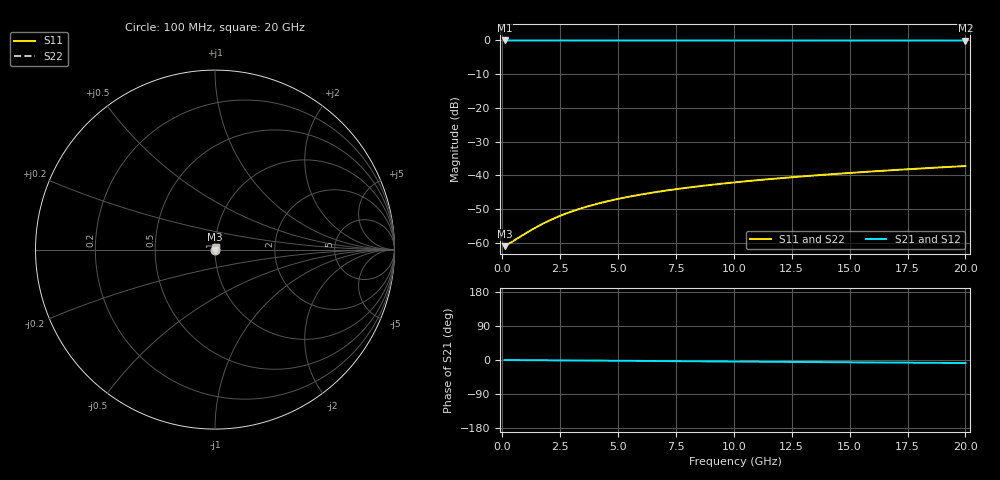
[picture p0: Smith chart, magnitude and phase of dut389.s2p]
! Touchstone file exported from HFSS 2026.1.0
!  File:  C:/ffzhzh/LocalFiles/Ansys_Project_Files/temp_train_TSV_389_1783019977_55676.aedt
!  Generated:  03:21:59 AM Jul  3, 2026
!  Design:  TSV
!  Project:  temp_train_TSV_389_1783019977_55676
! Variables:
!  h_bsmrdl = 2um
!  h_ox = 20um
!  h_rdl = 5um
!  h_sub = 87.54um
!  h_tmrdl = 5um
!  h_tsv = 87.54um
!  h_via = 3um
!  l_bsmrdl = 300um
!  l_sub = 406.84um
!  l_tmrdl = 200um
!  m_sub = 200um
!  pitch = 15.97um
!  r_tsv = 3.42um
!  s_tmrdl = 10um
!  w_bsmrdl = 18um
!  w_sub = 500um
!  w_tmrdl = 12um
!  x_tsv_center1 = 206um
!  x_tsv_center2 = 524um
!  x_tsv_center3 = 736um
!  x_tsv_center4 = 1054um
!  x_tsv_center5 = 1266um
!  x_tsv_center6 = 1584um
# GHz S MA R 50.000000
! Terminal data exported
! Port[1] = TSV1_1_T1
! Port[2] = TSV1_1_T2
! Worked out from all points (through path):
!   200 points, 100 MHz to 20 GHz, reference 50 ohm
!   highest |S21| = -0.01 dB at 100 MHz (marker M1); lowest = 0.0 dB at 20 GHz (marker M2)
!   group delay of S21, straight-line fit = 1.11 ps
!   lowest |S11| = -61.0 dB at 100 MHz (marker M3), VSWR 1.00, Z = 50.1 + j0.0117 ohm
!   |S11| at or under -10 dB: start of sweep to end of sweep
!   |S22| runs from -61.0 to -37.2 dB; largest |S21 - S12| = 3.1e-15
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0.1  0.0008908 7.6  0.9991 -0.0  0.9991 -0.0  0.0008908 7.6
! Gamma 0 0 0 0
! Port Impedance 50 0 50 0
0.2  0.000929 14.0  0.9991 -0.1  0.9991 -0.1  0.000929 14.0
0.6  0.001133 31.2  0.999 -0.3  0.999 -0.3  0.001133 31.2
1.2  0.001509 46.8  0.999 -0.5  0.999 -0.5  0.001509 46.8
1.6  0.001802 53.2  0.9989 -0.7  0.9989 -0.7  0.001802 53.2
1.9  0.002033 56.6  0.9989 -0.8  0.9989 -0.8  0.002033 56.6
2.3  0.002351 59.9  0.9988 -1.0  0.9988 -1.0  0.002351 59.9
2.7  0.002673 62.1  0.9988 -1.1  0.9988 -1.1  0.002673 62.1
3.1  0.002995 63.7  0.9987 -1.3  0.9987 -1.3  0.002995 63.7
3.5  0.003314 64.9  0.9987 -1.4  0.9987 -1.4  0.003314 64.9
4.2  0.003864 66.1  0.9985 -1.7  0.9985 -1.7  0.003864 66.1
5  0.004472 66.9  0.9984 -2.1  0.9984 -2.1  0.004472 66.9
5.9  0.00513 67.4  0.9982 -2.4  0.9982 -2.4  0.00513 67.4
6.8  0.005762 67.6  0.9981 -2.8  0.9981 -2.8  0.005762 67.6
7.5  0.006237 67.7  0.9979 -3.1  0.9979 -3.1  0.006237 67.7
8.3  0.006765 67.7  0.9978 -3.4  0.9978 -3.4  0.006765 67.7
10.1  0.007909 67.8  0.9975 -4.1  0.9975 -4.1  0.007909 67.8
11.7  0.00889 67.8  0.9973 -4.7  0.9973 -4.7  0.00889 67.8
13.4  0.009909 67.8  0.9971 -5.4  0.9971 -5.4  0.009909 67.8
15  0.01085 67.7  0.9969 -6.1  0.9969 -6.1  0.01085 67.7
16.7  0.01184 67.6  0.9967 -6.7  0.9967 -6.7  0.01184 67.6
20  0.01374 67.1  0.9964 -8.0  0.9964 -8.0  0.01374 67.1
